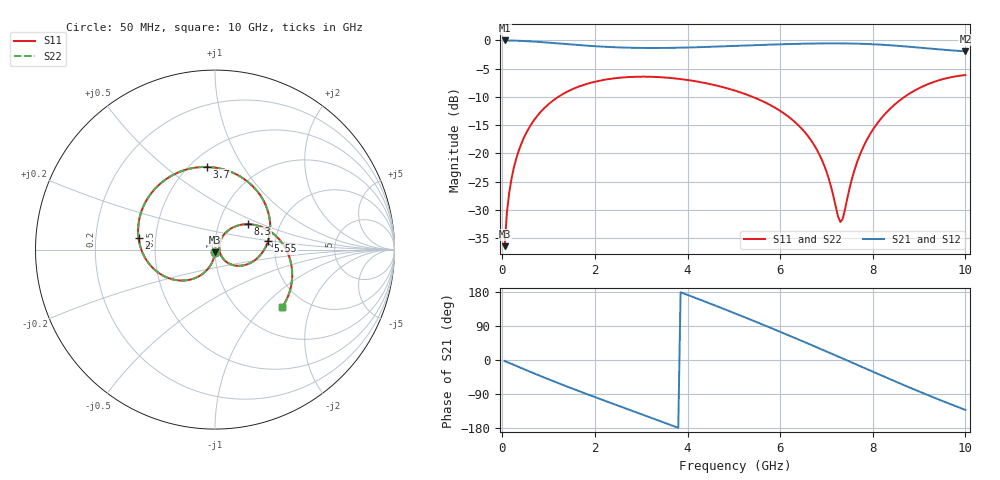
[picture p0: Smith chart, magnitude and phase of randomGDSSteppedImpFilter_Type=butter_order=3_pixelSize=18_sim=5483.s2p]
! freq	dB(S11)	phase(S11)	dB(S12)	phase(S12)
!  dB(S21)	phase(S21)	dB(S22)	phase(S22)
!S-par simulation data
#  GHz  S  DB  R 50
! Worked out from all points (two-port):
!   200 points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, 50 MHz to 10 GHz, reference 50 ohm
!   highest |S21| = 0.00 dB at 50 MHz (marker M1); lowest = -1.9 dB at 10 GHz (marker M2)
!   |S21| within 3 dB of the highest: start of sweep to end of sweep
!   lowest |S11| = -36.4 dB at 50 MHz (marker M3), VSWR 1.03, Z = 49.9 - j1.5 ohm
!   |S11| at or under -10 dB: start of sweep to 1.208 GHz; 5.407 GHz to 8.684 GHz (3.278 GHz wide, 46.5 % of centre)
!   |S22| runs from -36.4 to -6.1 dB; largest |S21 - S12| = 0
!   S11 on the Smith chart (normalised r, x): 50 MHz: 1.00, -0.03; 2 GHz: 0.40, +0.06; 3.7 GHz: 0.60, +0.71; 5.55 GHz: 1.82, +0.19; 8.3 GHz: 1.38, +0.41; 10 GHz: 1.53, -1.30
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0.05  -36.44 -92.4  -0.00 -2.6  -0.00 -2.6  -36.44 -92.4
0.1  -30.43 -95.1  -0.01 -5.2  -0.01 -5.2  -30.43 -95.1
0.2  -24.44 -100.4  -0.02 -10.4  -0.02 -10.4  -24.44 -100.4
0.5  -16.67 -116.1  -0.11 -25.9  -0.11 -25.9  -16.67 -116.1
1.1  -10.62 -146.3  -0.46 -55.8  -0.46 -55.8  -10.62 -146.3
1.75  -7.89 -177.1  -0.88 -86.5  -0.88 -86.5  -7.89 -177.1
2  -7.32 171.5  -1.02 -97.9  -1.02 -97.9  -7.32 171.4
2.65  -6.53 142.3  -1.27 -127.1  -1.27 -127.1  -6.53 142.3
3.4  -6.50 108.9  -1.34 -160.7  -1.34 -160.7  -6.50 108.8
3.7  -6.70 95.3  -1.31 -174.3  -1.31 -174.3  -6.70 95.3
4.35  -7.50 65.5  -1.17 155.5  -1.17 155.5  -7.50 65.4
5.05  -8.95 32.7  -0.96 121.9  -0.96 121.9  -8.95 32.6
5.55  -10.50 9.0  -0.81 97.2  -0.81 97.2  -10.50 8.9
6.1  -13.03 -16.9  -0.66 69.4  -0.66 69.4  -13.03 -16.9
6.7  -18.09 -42.2  -0.55 38.4  -0.55 38.4  -18.09 -42.2
7  -23.23 -48.2  -0.52 22.6  -0.52 22.6  -23.22 -48.1
7.3  -32.17 1.7  -0.52 6.7  -0.52 6.7  -32.07 1.7
7.75  -19.70 58.6  -0.59 -17.4  -0.59 -17.4  -19.69 58.3
8.3  -12.71 37.8  -0.81 -46.7  -0.81 -46.7  -12.71 37.6
8.35  -12.29 35.5  -0.84 -49.4  -0.84 -49.4  -12.29 35.3
9.1  -8.07 0.4  -1.35 -88.1  -1.35 -88.1  -8.07 0.3
10  -6.13 -40.5  -1.92 -131.8  -1.92 -131.8  -6.14 -40.7
